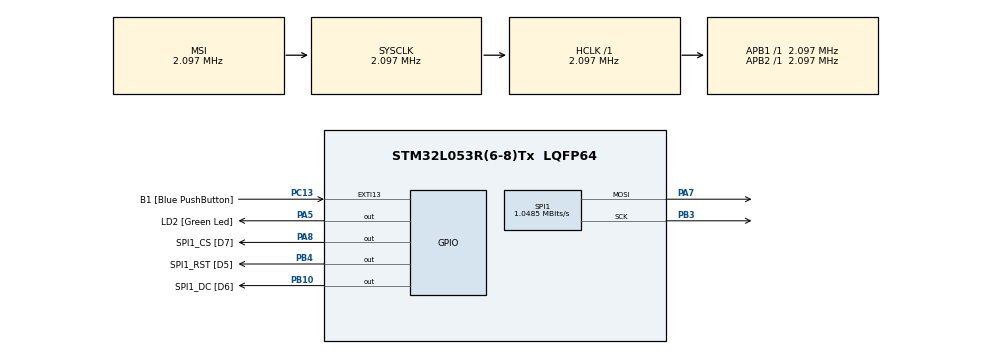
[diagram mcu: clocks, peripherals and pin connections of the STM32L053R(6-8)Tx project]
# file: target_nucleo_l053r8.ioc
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Mcu.Family=STM32L0
Mcu.Name=STM32L053R(6-8)Tx
Mcu.Package=LQFP64
PA13.GPIO_Label=TMS
PA13.Mode=Serial_Wire
PA13.Signal=SYS_SWDIO
PA14.GPIO_Label=TCK
PA14.Mode=Serial_Wire
PA14.Signal=SYS_SWCLK
PA2.GPIO_Label=USART_TX
PA2.Signal=USART2_TX
PA3.GPIO_Label=USART_RX
PA3.Signal=USART2_RX
PA5.GPIO_Label=LD2 [Green Led]
PA5.GPIO_PuPd=GPIO_PULLUP
PA5.GPIO_Speed=GPIO_SPEED_FREQ_LOW
PA5.Signal=GPIO_Output
PA7.GPIO_PuPd=GPIO_PULLUP
PA7.Mode=TX_Only_Simplex_Unidirect_Master
PA7.Signal=SPI1_MOSI
PA8.GPIO_Label=SPI1_CS [D7]
PA8.GPIO_PuPd=GPIO_PULLUP
PA8.GPIO_Speed=GPIO_SPEED_FREQ_VERY_HIGH
PA8.Signal=GPIO_Output
PB10.GPIO_Label=SPI1_DC [D6]
PB10.GPIO_PuPd=GPIO_PULLUP
PB10.GPIO_Speed=GPIO_SPEED_FREQ_VERY_HIGH
PB10.Signal=GPIO_Output
PB3.GPIO_PuPd=GPIO_PULLDOWN
PB3.Mode=TX_Only_Simplex_Unidirect_Master
PB3.Signal=SPI1_SCK
PB4.GPIO_Label=SPI1_RST [D5]
PB4.GPIO_PuPd=GPIO_PULLUP
PB4.GPIO_Speed=GPIO_SPEED_FREQ_VERY_HIGH
PB4.Signal=GPIO_Output
PC13.GPIO_Label=B1 [Blue PushButton]
PC13.GPIO_ModeDefaultEXTI=GPIO_MODE_IT_FALLING
PC13.Signal=GPXTI13
PC14-OSC32_IN.Mode=LSE-External-Oscillator
PC14-OSC32_IN.Signal=RCC_OSC32_IN
PC15-OSC32_OUT.Mode=LSE-External-Oscillator
PC15-OSC32_OUT.Signal=RCC_OSC32_OUT
PH0-OSC_IN.Mode=HSE-External-Clock-Source
PH0-OSC_IN.Signal=RCC_OSC_IN
PH1-OSC_OUT.Signal=RCC_OSC_OUT
ProjectManager.HeapSize=0x200
ProjectManager.StackSize=0x400
ProjectManager.TargetToolchain=CMake
RCC.AHBFreq_Value=2097000
RCC.APB1Freq_Value=2097000
RCC.APB1TimFreq_Value=2097000
RCC.APB2Freq_Value=2097000
RCC.APB2TimFreq_Value=2097000
RCC.HSE_VALUE=8000000
RCC.HSI16_VALUE=16000000
RCC.HSI48_VALUE=48000000
RCC.HSI_VALUE=16000000
RCC.MSI_VALUE=2097000
RCC.SYSCLKFreq_VALUE=2097000
RCC.VCOOutputFreq_Value=48000000
SPI1.BaudRatePrescaler=SPI_BAUDRATEPRESCALER_2
SPI1.CalculateBaudRate=1.0485 MBits/s
SPI1.Direction=SPI_DIRECTION_2LINES
SPI1.Mode=SPI_MODE_MASTER
SPI1.VirtualType=VM_MASTER
board=NUCLEO-L053R8

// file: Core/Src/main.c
/* USER CODE BEGIN Header */
/**
 ******************************************************************************
 * @file           : main.c
 * @brief          : Main program body
 ******************************************************************************
 * @attention
 *
 * Copyright (c) 2025 STMicroelectronics.
 * All rights reserved.
 *
 * This software is licensed under terms that can be found in the LICENSE file
 * in the root directory of this software component.
 * If no LICENSE file comes with this software, it is provided AS-IS.
 *
 ******************************************************************************
 */
/* USER CODE END Header */
#include "main.h"

/* USER CODE BEGIN Includes */
#include "app/app.h"
#include "stm32l0xx_hal.h"
#include "stm32l0xx_hal_gpio.h"
/* USER CODE END Includes */

SPI_HandleTypeDef hspi1;

void SystemClock_Config(void);
static void MX_GPIO_Init(void);
static void MX_SPI1_Init(void);

/* USER CODE BEGIN 0 */
void pin_set(GPIO_TypeDef* port, uint16_t pin) { HAL_GPIO_WritePin(port, pin, GPIO_PIN_SET); }
void pin_reset(GPIO_TypeDef* port, uint16_t pin) { HAL_GPIO_WritePin(port, pin, GPIO_PIN_RESET); }
void set_cs(void) { pin_set(SPI1_CS_GPIO_Port, SPI1_CS_Pin); }
void reset_cs(void) { pin_reset(SPI1_CS_GPIO_Port, SPI1_CS_Pin); }
void set_dc(void) { pin_set(SPI1_DC_GPIO_Port, SPI1_DC_Pin); }
void reset_dc(void) { pin_reset(SPI1_DC_GPIO_Port, SPI1_DC_Pin); }
void set_rst(void) { (pin_set(SPI1_RST_GPIO_Port, SPI1_RST_Pin)); }
void reset_rst(void) { (pin_reset(SPI1_RST_GPIO_Port, SPI1_RST_Pin)); }
void wait(uint32_t delay) { HAL_Delay(delay); }
void spi_write(uint8_t data) { HAL_SPI_Transmit(&hspi1, &data, 1, 100); }
void spi_write_mul(uint8_t* data, size_t len) { HAL_SPI_Transmit(&hspi1, data, len, 100); }

void sh1107_write_cmd(uint8_t cmd) {
  reset_cs();
  reset_dc();
  spi_write(cmd);
  set_cs();
  set_dc();
}

void sh1107_write_data(uint8_t* data, size_t len) {
  reset_cs();
  spi_write_mul(data, len);
  set_cs();
}

void oled_init(void) {
  reset_rst();
  set_rst();
  wait(10);
  reset_rst();
  wait(10);
  set_rst();
  wait(10);
  sh1107_write_cmd(0xAF);
}

void oled_all_on(void) {
  oled_init();
  sh1107_write_cmd(0xAE);
  sh1107_write_cmd(0xA5);
  sh1107_write_cmd(0xAF);
  wait(1000);
}

uint8_t page_count = 16;
uint8_t col_count = 128;
uint8_t empty[128] = {0};
void oled_clear(void) {
  sh1107_write_cmd(0x20);
  for (uint8_t page = 0; page < page_count; ++page) {
    sh1107_write_cmd(0xB0 | page);
    sh1107_write_cmd(0x00);
    sh1107_write_cmd(0x10);
    sh1107_write_data(empty, sizeof(empty));
  }
}

uint8_t logo_bmp[] = {0x00, 0xc0, 0x01, 0xc0, 0x01, 0xc0, 0x03, 0xe0, 0xf3, 0xe0, 0xfe, 0xf8, 0x7e, 0xff, 0x33, 0x9f,
                      0x1f, 0xfc, 0x0d, 0x70, 0x1b, 0xa0, 0x3f, 0xe0, 0x3f, 0xf0, 0x7c, 0xf0, 0x70, 0x70, 0x00, 0x30};
// bitmap_16x16_sh1107_page: 32 bytes
unsigned char bitmap_16x16_sh1107_page[] = {
    0x00, 0x00, 0x00, 0x00, 0x00, 0x00, 0x00, 0x00, 0x00, 0xE0, 0x38, 0x0C, 0x04, 0x06, 0x0E, 0x3A, 0x82, 0x46, 0x4C,
    0x78, 0xE0, 0x00, 0x00, 0x00, 0x00, 0x00, 0x00, 0x00, 0x00, 0x00, 0x00, 0x00, 0x00, 0x00, 0x00, 0x00, 0x00, 0x00,
    0x00, 0x00, 0x00, 0x39, 0xEF, 0x02, 0x01, 0x01, 0x01, 0x01, 0x01, 0x00, 0x00, 0x00, 0x03, 0xFE, 0x00, 0x00, 0x00,
    0x00, 0x00, 0x00, 0x00, 0x00, 0x00, 0x00, 0x00, 0x00, 0xF0, 0x1C, 0x04, 0x06, 0x02, 0x02, 0x02, 0x06, 0x0F, 0x7C,
    0xF0, 0x00, 0x00, 0x00, 0x00, 0x00, 0x00, 0x00, 0x00, 0x0F, 0x03, 0x01, 0x03, 0x06, 0x1E, 0xF0, 0x80, 0x00, 0x00,
    0x00, 0x00, 0x00, 0x1F, 0x30, 0x00, 0x00, 0x00, 0x00, 0x00, 0x00, 0x00, 0x00, 0x03, 0x00, 0x00, 0x00, 0x00, 0x00,
    0x00, 0x00, 0x00, 0x00, 0x00, 0x00, 0x00, 0x00, 0x00, 0x00, 0x1F, 0x00, 0x00, 0x00,
};
void draw_bitmap_vertical(uint8_t* bmp, size_t width, size_t height, uint8_t x, uint8_t y) {
  size_t written = 0;
  for (size_t col = 0; col < width; ++col) {
    sh1107_write_cmd(0xB0 | y);
    if (col + x >= col_count) break;
    sh1107_write_cmd(0x00 | ((col + x) & 0x0F));
    sh1107_write_cmd(0x10 | ((col + x) >> 4));
    sh1107_write_data(bmp + written, height / 8);
    written += height / 8;
  }
}

void draw_bitmap_page(uint8_t* bmp, size_t width, size_t height, uint8_t x, uint8_t y) {
  size_t written = 0;
  for (size_t page = 0; page < height / 8; ++page) {
    sh1107_write_cmd(0xB0 | (page + y));
    sh1107_write_cmd(0x00 | (x & 0x0F));
    sh1107_write_cmd(0x10 | (x >> 4));
    sh1107_write_data(bmp + written, width);
    written += width;
  }
}

static const uint8_t square[8] = {0x7F, 0x7F, 0x7F, 0x7F, 0x7F, 0x7F, 0x7F, 0x7F};
void oled_move_square(void) {}

// uint8_t data[] = {0x7f, 0x7F, 0x7f, 0x7f, 0x7f, 0x7f, 0x7f, 0x7f};
uint8_t data[] = {
    0xFF, 0xFF, 0xFF, 0xFF, 0xFF, 0xFF, 0xFF, 0xFF, 0xFF, 0xFF, 0xFF, 0xFF, 0xFF, 0xFF, 0xFF, 0xFF,
};
uint8_t page = 0;
uint8_t column = 0x00;
uint8_t low_mask = 0x0F;
uint8_t high_mask = 0xF0;
void oled_write_data(void) {
  oled_init();
  oled_clear();
  sh1107_write_cmd(0x20);
  sh1107_write_cmd(0xB0 | page);
  uint8_t x = 0;
  uint8_t y = 0;
  uint8_t empty[32] = {0};
  draw_bitmap_page(bitmap_16x16_sh1107_page, 32, 32, 60, 60);
  // draw_bitmap_vertical(logo_bmp, 16, 16, x, y);
  // while (column < col_count) {
  // sh1107_write_cmd(0x00 | (column & low_mask));
  // sh1107_write_cmd(0x10 | (column >> 4));
  // sh1107_write_data(logo_bmp, sizeof(logo_bmp));
  // column += 4;
  // }
  // while (1) {
  //   wait(100);
  //   sh1107_write_cmd(0xA6);
  //   wait(100);
  //   sh1107_write_cmd(0xA7);
  // }
}

/* USER CODE END 0 */

int main(void) {

  /* MCU Configuration--------------------------------------------------------*/

  /* Reset of all peripherals, Initializes the Flash interface and the Systick. */
  HAL_Init();

  /* Configure the system clock */
  SystemClock_Config();

  /* Initialize all configured peripherals */
  MX_GPIO_Init();
  MX_SPI1_Init();
  /* USER CODE BEGIN 2 */
  set_rst();
  set_dc();
  set_cs();
  oled_write_data();
  start_app();
  /* USER CODE END 2 */

  /* Infinite loop */
  while (1) {

  }
}

void SystemClock_Config(void) {
  RCC_OscInitTypeDef RCC_OscInitStruct = {0};
  RCC_ClkInitTypeDef RCC_ClkInitStruct = {0};

  /** Configure the main internal regulator output voltage
   */
  __HAL_PWR_VOLTAGESCALING_CONFIG(PWR_REGULATOR_VOLTAGE_SCALE1);

  /** Initializes the RCC Oscillators according to the specified parameters
   * in the RCC_OscInitTypeDef structure.
   */
  RCC_OscInitStruct.OscillatorType = RCC_OSCILLATORTYPE_MSI;
  RCC_OscInitStruct.MSIState = RCC_MSI_ON;
  RCC_OscInitStruct.MSICalibrationValue = 0;
  RCC_OscInitStruct.MSIClockRange = RCC_MSIRANGE_5;
  RCC_OscInitStruct.PLL.PLLState = RCC_PLL_NONE;
  if (HAL_RCC_OscConfig(&RCC_OscInitStruct) != HAL_OK) {
    Error_Handler();
  }

  /** Initializes the CPU, AHB and APB buses clocks
   */
  RCC_ClkInitStruct.ClockType = RCC_CLOCKTYPE_HCLK | RCC_CLOCKTYPE_SYSCLK | RCC_CLOCKTYPE_PCLK1 | RCC_CLOCKTYPE_PCLK2;
  RCC_ClkInitStruct.SYSCLKSource = RCC_SYSCLKSOURCE_MSI;
  RCC_ClkInitStruct.AHBCLKDivider = RCC_SYSCLK_DIV1;
  RCC_ClkInitStruct.APB1CLKDivider = RCC_HCLK_DIV1;
  RCC_ClkInitStruct.APB2CLKDivider = RCC_HCLK_DIV1;

  if (HAL_RCC_ClockConfig(&RCC_ClkInitStruct, FLASH_LATENCY_0) != HAL_OK) {
    Error_Handler();
  }
}

static void MX_SPI1_Init(void) {

  /* SPI1 parameter configuration*/
  hspi1.Instance = SPI1;
  hspi1.Init.Mode = SPI_MODE_MASTER;
  hspi1.Init.Direction = SPI_DIRECTION_2LINES;
  hspi1.Init.DataSize = SPI_DATASIZE_8BIT;
  hspi1.Init.CLKPolarity = SPI_POLARITY_LOW;
  hspi1.Init.CLKPhase = SPI_PHASE_1EDGE;
  hspi1.Init.NSS = SPI_NSS_SOFT;
  hspi1.Init.BaudRatePrescaler = SPI_BAUDRATEPRESCALER_2;
  hspi1.Init.FirstBit = SPI_FIRSTBIT_MSB;
  hspi1.Init.TIMode = SPI_TIMODE_DISABLE;
  hspi1.Init.CRCCalculation = SPI_CRCCALCULATION_DISABLE;
  hspi1.Init.CRCPolynomial = 7;
  if (HAL_SPI_Init(&hspi1) != HAL_OK) {
    Error_Handler();
  }
}

static void MX_GPIO_Init(void) {
  GPIO_InitTypeDef GPIO_InitStruct = {0};

  /* GPIO Ports Clock Enable */
  __HAL_RCC_GPIOC_CLK_ENABLE();
  __HAL_RCC_GPIOH_CLK_ENABLE();
  __HAL_RCC_GPIOA_CLK_ENABLE();
  __HAL_RCC_GPIOB_CLK_ENABLE();

  /*Configure GPIO pin Output Level */
  HAL_GPIO_WritePin(GPIOA, LD2_Pin | SPI1_CS_Pin, GPIO_PIN_RESET);

  /*Configure GPIO pin Output Level */
  HAL_GPIO_WritePin(GPIOB, SPI1_DC_Pin | SPI1_RST_Pin, GPIO_PIN_RESET);

  /*Configure GPIO pin : B1_Pin */
  GPIO_InitStruct.Pin = B1_Pin;
  GPIO_InitStruct.Mode = GPIO_MODE_IT_FALLING;
  GPIO_InitStruct.Pull = GPIO_NOPULL;
  HAL_GPIO_Init(B1_GPIO_Port, &GPIO_InitStruct);

  /*Configure GPIO pins : USART_TX_Pin USART_RX_Pin */
  GPIO_InitStruct.Pin = USART_TX_Pin | USART_RX_Pin;
  GPIO_InitStruct.Mode = GPIO_MODE_AF_PP;
  GPIO_InitStruct.Pull = GPIO_NOPULL;
  GPIO_InitStruct.Speed = GPIO_SPEED_FREQ_VERY_HIGH;
  GPIO_InitStruct.Alternate = GPIO_AF4_USART2;
  HAL_GPIO_Init(GPIOA, &GPIO_InitStruct);

  /*Configure GPIO pin : LD2_Pin */
  GPIO_InitStruct.Pin = LD2_Pin;
  GPIO_InitStruct.Mode = GPIO_MODE_OUTPUT_PP;
  GPIO_InitStruct.Pull = GPIO_PULLUP;
  GPIO_InitStruct.Speed = GPIO_SPEED_FREQ_LOW;
  HAL_GPIO_Init(LD2_GPIO_Port, &GPIO_InitStruct);

  /*Configure GPIO pins : SPI1_DC_Pin SPI1_RST_Pin */
  GPIO_InitStruct.Pin = SPI1_DC_Pin | SPI1_RST_Pin;
  GPIO_InitStruct.Mode = GPIO_MODE_OUTPUT_PP;
  GPIO_InitStruct.Pull = GPIO_PULLUP;
  GPIO_InitStruct.Speed = GPIO_SPEED_FREQ_VERY_HIGH;
  HAL_GPIO_Init(GPIOB, &GPIO_InitStruct);

  /*Configure GPIO pin : SPI1_CS_Pin */
  GPIO_InitStruct.Pin = SPI1_CS_Pin;
  GPIO_InitStruct.Mode = GPIO_MODE_OUTPUT_PP;
  GPIO_InitStruct.Pull = GPIO_PULLUP;
  GPIO_InitStruct.Speed = GPIO_SPEED_FREQ_VERY_HIGH;
  HAL_GPIO_Init(SPI1_CS_GPIO_Port, &GPIO_InitStruct);

}

void Error_Handler(void) {
  __disable_irq();
  while (1) {
  }
}
#ifdef USE_FULL_ASSERT
/**
 * @brief  Reports the name of the source file and the source line number
 *         where the assert_param error has occurred.
 * @param  file: pointer to the source file name
 * @param  line: assert_param error line source number
 * @retval None
 */
void assert_failed(uint8_t* file, uint32_t line) {
  /* USER CODE BEGIN 6 */
  /* User can add his own implementation to report the file name and line
     number, ex: printf("Wrong parameters value: file %s on line %d\r\n", file,
     line) */
  /* USER CODE END 6 */
}
#endif /* USE_FULL_ASSERT */
